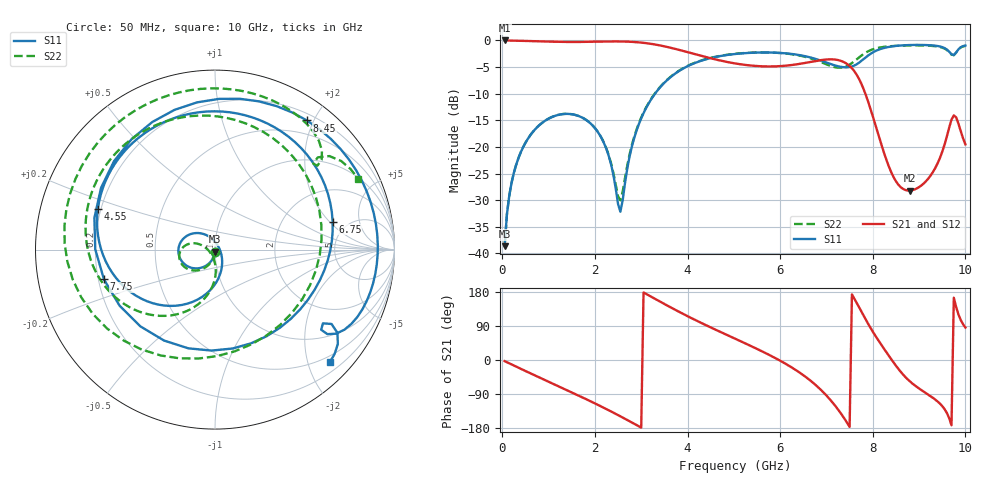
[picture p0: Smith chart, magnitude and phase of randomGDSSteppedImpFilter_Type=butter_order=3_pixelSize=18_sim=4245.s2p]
! freq	dB(S11)	phase(S11)	dB(S12)	phase(S12)
!  dB(S21)	phase(S21)	dB(S22)	phase(S22)
!S-par simulation data
#  GHz  S  DB  R 50
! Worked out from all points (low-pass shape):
!   200 points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, 50 MHz to 10 GHz, reference 50 ohm
!   highest |S21| = 0.00 dB at 50 MHz (marker M1); lowest = -28.2 dB at 8.8 GHz (marker M2)
!   |S21| within 3 dB of the highest: start of sweep to 4.345 GHz
!   lowest |S11| = -38.6 dB at 50 MHz (marker M3), VSWR 1.02, Z = 49.9 - j1.17 ohm
!   |S11| at or under -10 dB: start of sweep to 3.298 GHz
!   |S22| runs from -38.6 to -0.9 dB; largest |S21 - S12| = 0
!   S11 on the Smith chart (normalised r, x): 50 MHz: 1.00, -0.02; 4.55 GHz: 0.19, +0.16; 6.75 GHz: 3.81, +2.19; 7.75 GHz: 0.22, -0.13; 8.45 GHz: 0.29, +1.90; 10 GHz: 0.37, -2.39
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0.05  -38.63 -92.7  -0.00 -3.0  -0.00 -3.0  -38.62 -92.3
0.2  -26.73 -102.4  -0.03 -11.7  -0.03 -11.7  -26.72 -100.8
0.55  -18.50 -124.5  -0.11 -31.9  -0.11 -31.9  -18.49 -120.1
1.75  -14.60 160.7  -0.27 -99.8  -0.27 -99.8  -14.59 179.0
2.25  -20.42 121.2  -0.20 -129.6  -0.20 -129.6  -20.34 161.1
2.55  -32.17 21.6  -0.19 -148.6  -0.19 -148.6  -30.02 -139.4
2.9  -16.90 -79.0  -0.33 -171.7  -0.33 -171.7  -16.71 -89.1
3.4  -8.88 -120.9  -0.93 154.5  -0.93 154.5  -8.81 -112.8
4.55  -3.21 160.8  -3.46 83.1  -3.46 83.1  -3.16 -175.3
5.05  -2.53 130.3  -4.35 55.0  -4.35 55.0  -2.49 159.6
5.9  -2.30 77.4  -4.86 4.8  -4.86 4.8  -2.31 113.2
6.7  -3.30 17.8  -3.96 -59.0  -3.96 -59.0  -3.49 46.5
6.75  -3.43 13.4  -3.88 -64.2  -3.88 -64.2  -3.64 40.5
7.1  -4.46 -22.1  -3.55 -107.5  -3.55 -107.5  -4.82 -11.5
7.4  -5.04 -69.0  -4.18 -156.9  -4.18 -156.9  -4.95 -69.1
7.75  -3.87 -165.0  -8.07 128.7  -8.07 128.7  -2.87 -135.2
8.05  -2.02 116.1  -15.65 65.1  -15.65 65.1  -1.53 177.6
8.35  -1.21 66.8  -23.73 10.6  -23.73 10.6  -1.10 142.6
8.45  -1.08 54.6  -25.68 -6.7  -25.68 -6.7  -1.04 132.8
8.8  -0.86 20.9  -28.18 -56.2  -28.18 -56.2  -0.93 102.9
9.75  -2.75 -34.3  -14.07 164.3  -14.07 164.3  -2.76 41.2
10  -0.95 -44.5  -19.51 85.6  -19.51 85.6  -1.02 26.4
